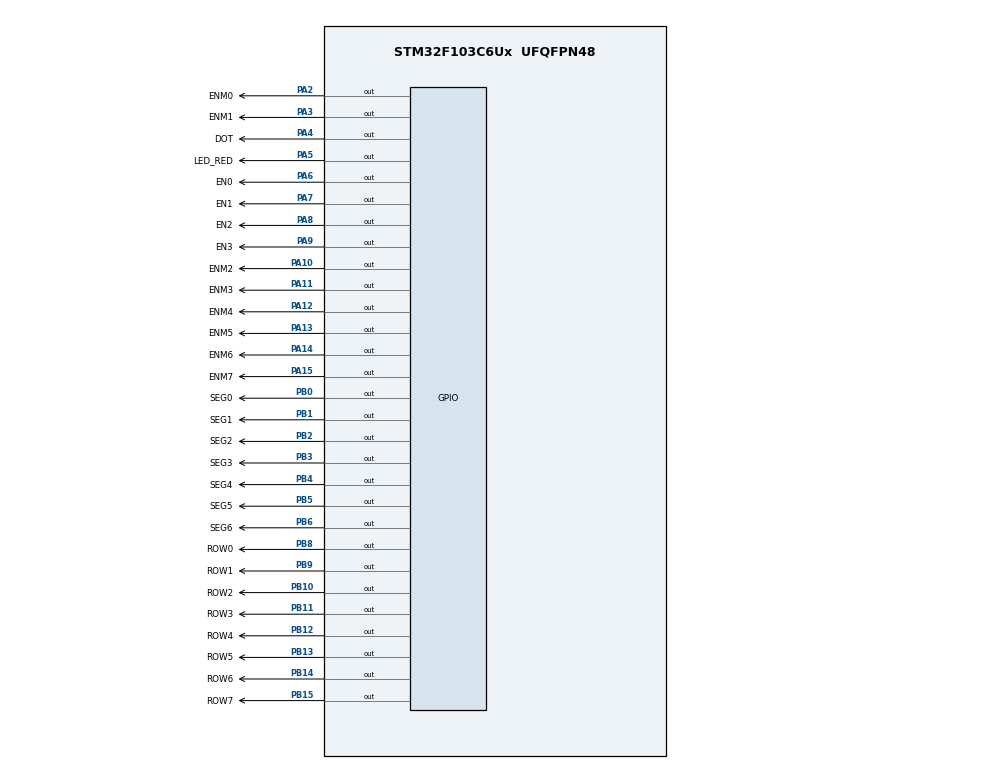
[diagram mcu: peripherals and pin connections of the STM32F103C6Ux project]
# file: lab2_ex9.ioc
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Mcu.Family=STM32F1
Mcu.Name=STM32F103C6Ux
Mcu.Package=UFQFPN48
NVIC.PriorityGroup=NVIC_PRIORITYGROUP_4
NVIC.TIM2_IRQn=true\:0\:0\:false\:false\:true\:true\:true\:true
PA10.GPIO_Label=ENM2
PA10.Signal=GPIO_Output
PA11.GPIO_Label=ENM3
PA11.Signal=GPIO_Output
PA12.GPIO_Label=ENM4
PA12.Signal=GPIO_Output
PA13.GPIO_Label=ENM5
PA13.Signal=GPIO_Output
PA14.GPIO_Label=ENM6
PA14.Signal=GPIO_Output
PA15.GPIO_Label=ENM7
PA15.Signal=GPIO_Output
PA2.GPIO_Label=ENM0
PA2.Signal=GPIO_Output
PA3.GPIO_Label=ENM1
PA3.Signal=GPIO_Output
PA4.GPIO_Label=DOT
PA4.Signal=GPIO_Output
PA5.GPIO_Label=LED_RED
PA5.Signal=GPIO_Output
PA6.GPIO_Label=EN0
PA6.Signal=GPIO_Output
PA7.GPIO_Label=EN1
PA7.Signal=GPIO_Output
PA8.GPIO_Label=EN2
PA8.Signal=GPIO_Output
PA9.GPIO_Label=EN3
PA9.Signal=GPIO_Output
PB0.GPIO_Label=SEG0
PB0.Signal=GPIO_Output
PB1.GPIO_Label=SEG1
PB1.Signal=GPIO_Output
PB10.GPIO_Label=ROW2
PB10.Signal=GPIO_Output
PB11.GPIO_Label=ROW3
PB11.Signal=GPIO_Output
PB12.GPIO_Label=ROW4
PB12.Signal=GPIO_Output
PB13.GPIO_Label=ROW5
PB13.Signal=GPIO_Output
PB14.GPIO_Label=ROW6
PB14.Signal=GPIO_Output
PB15.GPIO_Label=ROW7
PB15.Signal=GPIO_Output
PB2.GPIO_Label=SEG2
PB2.Signal=GPIO_Output
PB3.GPIO_Label=SEG3
PB3.Signal=GPIO_Output
PB4.GPIO_Label=SEG4
PB4.Signal=GPIO_Output
PB5.GPIO_Label=SEG5
PB5.Signal=GPIO_Output
PB6.GPIO_Label=SEG6
PB6.Signal=GPIO_Output
PB8.GPIO_Label=ROW0
PB8.Signal=GPIO_Output
PB9.GPIO_Label=ROW1
PB9.Signal=GPIO_Output
ProjectManager.HeapSize=0x200
ProjectManager.StackSize=0x400
ProjectManager.TargetToolchain=STM32CubeIDE
RCC.APB1Freq_Value=8000000
RCC.APB2Freq_Value=8000000
TIM2.Period=9
TIM2.Prescaler=7999
VP_SYS_VS_ND.Mode=No_Debug
VP_TIM2_VS_ClockSourceINT.Mode=Internal
board=custom

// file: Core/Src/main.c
/* USER CODE BEGIN Header */
/**
  ******************************************************************************
  * @file           : main.c
  * @brief          : Main program body
  ******************************************************************************
  * @attention
  *
  * Copyright (c) 2025 STMicroelectronics.
  * All rights reserved.
  *
  * This software is licensed under terms that can be found in the LICENSE file
  * in the root directory of this software component.
  * If no LICENSE file comes with this software, it is provided AS-IS.
  *
  ******************************************************************************
  */
/* USER CODE END Header */
#include "main.h"

/* USER CODE BEGIN Includes */
#include "software_timer.h"
/* USER CODE END Includes */

TIM_HandleTypeDef htim2;

/* USER CODE BEGIN PV */
int led_counter = 100;
int seg_counter = 50;
int active_digit = 0;
const int MAX_LED = 4;
int index_led = 0;
int led_buffer [4] = {1 , 5 , 5 , 9};
int hour = 15, minute = 59, second = 45;
const int MAX_LED_MATRIX = 8;
int index_led_matrix = 0;
uint8_t matrix_buffer[8] = {
    0b11100111,
	0b11011011,
	0b10111101,
	0b10000001,
	0b10111101,
	0b10111101,
	0b10111101,
	0b10111101
};
uint8_t row_map[8] = {0b00000001, 0b00000010, 0b00000100, 0b00001000, 0b00010000, 0b00100000, 0b01000000, 0b10000000};
/* USER CODE END PV */

void SystemClock_Config(void);
static void MX_GPIO_Init(void);
static void MX_TIM2_Init(void);
/* USER CODE BEGIN PFP */
void display7SEG(int);
void update7SEG(int);
void updateClockBuffer();
void updateLEDMatrix(int);
/* USER CODE END PFP */

/* USER CODE BEGIN 0 */
int timer0_counter = 0;
int timer0_flag = 0;
int TIMER_CYCLE = 10;
void setTimer0(int duration){
	timer0_counter = duration /TIMER_CYCLE;
	timer0_flag = 0;
}
void timer_run(){
	if(timer0_counter > 0){
		timer0_counter--;
		if(timer0_counter == 0) timer0_flag = 1;
	}
}
/* USER CODE END 0 */

int main(void)
{

  /* MCU Configuration--------------------------------------------------------*/

  /* Reset of all peripherals, Initializes the Flash interface and the Systick. */
  HAL_Init();

  /* Configure the system clock */
  SystemClock_Config();

  /* Initialize all configured peripherals */
  MX_GPIO_Init();
  MX_TIM2_Init();
  /* USER CODE BEGIN 2 */
  HAL_TIM_Base_Start_IT(&htim2);
  HAL_GPIO_WritePin(GPIOA, LED_RED_Pin, GPIO_PIN_RESET);
  HAL_GPIO_WritePin(GPIOA, DOT_Pin, GPIO_PIN_RESET);
  /* USER CODE END 2 */

  /* Infinite loop */
  /* USER CODE BEGIN WHILE */
  setTimer0(1000);
  int timer_led = 100;
  int timer_dot = 50;
  int timer_clock = 25;
  int timer_seg = 10;
  int timer_matrix = 10;
  while (1) {

	  if (timer_led <= 0){
		  HAL_GPIO_TogglePin(GPIOA, LED_RED_Pin);
		  timer_led = 100;
	  }

	  if (timer_dot <= 0){
		  HAL_GPIO_TogglePin(GPIOA, DOT_Pin);
		  timer_dot = 50;
	  }

	  if (timer_clock <= 0){
		  second++;
		  if (second >= 60){
			  second = 0;
			  minute++;
			  if (minute >= 60){
				  minute = 0;
				  hour++;
				  if (hour >= 24) hour = 0;
			  }
		  }
		  updateClockBuffer();
		  timer_clock = 25;
	  }

	  if (timer_seg <= 0){
		  update7SEG((index_led++) % MAX_LED);
		  timer_seg = 25;
	  }

	  if (timer_matrix <= 0){
	      updateLEDMatrix((index_led_matrix++) % MAX_LED_MATRIX);
	      timer_matrix = 2;
	  }

	  if (timer0_flag == 1){
		  timer_led--;
		  timer_dot--;
		  timer_clock--;
		  timer_seg--;
		  timer_matrix--;
		  setTimer0(10);
	  }

    /* USER CODE END WHILE */

  }
}

void SystemClock_Config(void)
{
  RCC_OscInitTypeDef RCC_OscInitStruct = {0};
  RCC_ClkInitTypeDef RCC_ClkInitStruct = {0};

  /** Initializes the RCC Oscillators according to the specified parameters
  * in the RCC_OscInitTypeDef structure.
  */
  RCC_OscInitStruct.OscillatorType = RCC_OSCILLATORTYPE_HSI;
  RCC_OscInitStruct.HSIState = RCC_HSI_ON;
  RCC_OscInitStruct.HSICalibrationValue = RCC_HSICALIBRATION_DEFAULT;
  RCC_OscInitStruct.PLL.PLLState = RCC_PLL_NONE;
  if (HAL_RCC_OscConfig(&RCC_OscInitStruct) != HAL_OK)
  {
    Error_Handler();
  }

  /** Initializes the CPU, AHB and APB buses clocks
  */
  RCC_ClkInitStruct.ClockType = RCC_CLOCKTYPE_HCLK|RCC_CLOCKTYPE_SYSCLK
                              |RCC_CLOCKTYPE_PCLK1|RCC_CLOCKTYPE_PCLK2;
  RCC_ClkInitStruct.SYSCLKSource = RCC_SYSCLKSOURCE_HSI;
  RCC_ClkInitStruct.AHBCLKDivider = RCC_SYSCLK_DIV1;
  RCC_ClkInitStruct.APB1CLKDivider = RCC_HCLK_DIV1;
  RCC_ClkInitStruct.APB2CLKDivider = RCC_HCLK_DIV1;

  if (HAL_RCC_ClockConfig(&RCC_ClkInitStruct, FLASH_LATENCY_0) != HAL_OK)
  {
    Error_Handler();
  }
}

static void MX_TIM2_Init(void)
{

  TIM_ClockConfigTypeDef sClockSourceConfig = {0};
  TIM_MasterConfigTypeDef sMasterConfig = {0};

  htim2.Instance = TIM2;
  htim2.Init.Prescaler = 7999;
  htim2.Init.CounterMode = TIM_COUNTERMODE_UP;
  htim2.Init.Period = 9;
  htim2.Init.ClockDivision = TIM_CLOCKDIVISION_DIV1;
  htim2.Init.AutoReloadPreload = TIM_AUTORELOAD_PRELOAD_DISABLE;
  if (HAL_TIM_Base_Init(&htim2) != HAL_OK)
  {
    Error_Handler();
  }
  sClockSourceConfig.ClockSource = TIM_CLOCKSOURCE_INTERNAL;
  if (HAL_TIM_ConfigClockSource(&htim2, &sClockSourceConfig) != HAL_OK)
  {
    Error_Handler();
  }
  sMasterConfig.MasterOutputTrigger = TIM_TRGO_RESET;
  sMasterConfig.MasterSlaveMode = TIM_MASTERSLAVEMODE_DISABLE;
  if (HAL_TIMEx_MasterConfigSynchronization(&htim2, &sMasterConfig) != HAL_OK)
  {
    Error_Handler();
  }

}

static void MX_GPIO_Init(void)
{
  GPIO_InitTypeDef GPIO_InitStruct = {0};

  /* GPIO Ports Clock Enable */
  __HAL_RCC_GPIOA_CLK_ENABLE();
  __HAL_RCC_GPIOB_CLK_ENABLE();

  /*Configure GPIO pin Output Level */
  HAL_GPIO_WritePin(GPIOA, ENM0_Pin|ENM1_Pin|DOT_Pin|LED_RED_Pin
                          |EN0_Pin|EN1_Pin|EN2_Pin|EN3_Pin
                          |ENM2_Pin|ENM3_Pin|ENM4_Pin|ENM5_Pin
                          |ENM6_Pin|ENM7_Pin, GPIO_PIN_RESET);

  /*Configure GPIO pin Output Level */
  HAL_GPIO_WritePin(GPIOB, SEG0_Pin|SEG1_Pin|SEG2_Pin|ROW2_Pin
                          |ROW3_Pin|ROW4_Pin|ROW5_Pin|ROW6_Pin
                          |ROW7_Pin|SEG3_Pin|SEG4_Pin|SEG5_Pin
                          |SEG6_Pin|ROW0_Pin|ROW1_Pin, GPIO_PIN_RESET);

  /*Configure GPIO pins : ENM0_Pin ENM1_Pin DOT_Pin LED_RED_Pin
                           EN0_Pin EN1_Pin EN2_Pin EN3_Pin
                           ENM2_Pin ENM3_Pin ENM4_Pin ENM5_Pin
                           ENM6_Pin ENM7_Pin */
  GPIO_InitStruct.Pin = ENM0_Pin|ENM1_Pin|DOT_Pin|LED_RED_Pin
                          |EN0_Pin|EN1_Pin|EN2_Pin|EN3_Pin
                          |ENM2_Pin|ENM3_Pin|ENM4_Pin|ENM5_Pin
                          |ENM6_Pin|ENM7_Pin;
  GPIO_InitStruct.Mode = GPIO_MODE_OUTPUT_PP;
  GPIO_InitStruct.Pull = GPIO_NOPULL;
  GPIO_InitStruct.Speed = GPIO_SPEED_FREQ_LOW;
  HAL_GPIO_Init(GPIOA, &GPIO_InitStruct);

  /*Configure GPIO pins : SEG0_Pin SEG1_Pin SEG2_Pin ROW2_Pin
                           ROW3_Pin ROW4_Pin ROW5_Pin ROW6_Pin
                           ROW7_Pin SEG3_Pin SEG4_Pin SEG5_Pin
                           SEG6_Pin ROW0_Pin ROW1_Pin */
  GPIO_InitStruct.Pin = SEG0_Pin|SEG1_Pin|SEG2_Pin|ROW2_Pin
                          |ROW3_Pin|ROW4_Pin|ROW5_Pin|ROW6_Pin
                          |ROW7_Pin|SEG3_Pin|SEG4_Pin|SEG5_Pin
                          |SEG6_Pin|ROW0_Pin|ROW1_Pin;
  GPIO_InitStruct.Mode = GPIO_MODE_OUTPUT_PP;
  GPIO_InitStruct.Pull = GPIO_NOPULL;
  GPIO_InitStruct.Speed = GPIO_SPEED_FREQ_LOW;
  HAL_GPIO_Init(GPIOB, &GPIO_InitStruct);

}

/* USER CODE BEGIN 4 */
void HAL_TIM_PeriodElapsedCallback(TIM_HandleTypeDef *htim) {
	timer_run();
}
void display7SEG(int num) {
    switch(num) {
        case 0:
            HAL_GPIO_WritePin(GPIOB, SEG0_Pin, GPIO_PIN_RESET);
            HAL_GPIO_WritePin(GPIOB, SEG1_Pin, GPIO_PIN_RESET);
            HAL_GPIO_WritePin(GPIOB, SEG2_Pin, GPIO_PIN_RESET);
            HAL_GPIO_WritePin(GPIOB, SEG3_Pin, GPIO_PIN_RESET);
            HAL_GPIO_WritePin(GPIOB, SEG4_Pin, GPIO_PIN_RESET);
            HAL_GPIO_WritePin(GPIOB, SEG5_Pin, GPIO_PIN_RESET);
            HAL_GPIO_WritePin(GPIOB, SEG6_Pin, GPIO_PIN_SET);
            break;

        case 1:
            HAL_GPIO_WritePin(GPIOB, SEG0_Pin, GPIO_PIN_SET);
            HAL_GPIO_WritePin(GPIOB, SEG1_Pin, GPIO_PIN_RESET);
            HAL_GPIO_WritePin(GPIOB, SEG2_Pin, GPIO_PIN_RESET);
            HAL_GPIO_WritePin(GPIOB, SEG3_Pin, GPIO_PIN_SET);
            HAL_GPIO_WritePin(GPIOB, SEG4_Pin, GPIO_PIN_SET);
            HAL_GPIO_WritePin(GPIOB, SEG5_Pin, GPIO_PIN_SET);
            HAL_GPIO_WritePin(GPIOB, SEG6_Pin, GPIO_PIN_SET);
            break;

        case 2:
            HAL_GPIO_WritePin(GPIOB, SEG0_Pin, GPIO_PIN_RESET);
            HAL_GPIO_WritePin(GPIOB, SEG1_Pin, GPIO_PIN_RESET);
            HAL_GPIO_WritePin(GPIOB, SEG2_Pin, GPIO_PIN_SET);
            HAL_GPIO_WritePin(GPIOB, SEG3_Pin, GPIO_PIN_RESET);
            HAL_GPIO_WritePin(GPIOB, SEG4_Pin, GPIO_PIN_RESET);
            HAL_GPIO_WritePin(GPIOB, SEG5_Pin, GPIO_PIN_SET);
            HAL_GPIO_WritePin(GPIOB, SEG6_Pin, GPIO_PIN_RESET);
            break;

        case 3:
            HAL_GPIO_WritePin(GPIOB, SEG0_Pin, GPIO_PIN_RESET);
            HAL_GPIO_WritePin(GPIOB, SEG1_Pin, GPIO_PIN_RESET);
            HAL_GPIO_WritePin(GPIOB, SEG2_Pin, GPIO_PIN_RESET);
            HAL_GPIO_WritePin(GPIOB, SEG3_Pin, GPIO_PIN_RESET);
            HAL_GPIO_WritePin(GPIOB, SEG4_Pin, GPIO_PIN_SET);
            HAL_GPIO_WritePin(GPIOB, SEG5_Pin, GPIO_PIN_SET);
            HAL_GPIO_WritePin(GPIOB, SEG6_Pin, GPIO_PIN_RESET);
            break;

        case 4:
            HAL_GPIO_WritePin(GPIOB, SEG0_Pin, GPIO_PIN_SET);
            HAL_GPIO_WritePin(GPIOB, SEG1_Pin, GPIO_PIN_RESET);
            HAL_GPIO_WritePin(GPIOB, SEG2_Pin, GPIO_PIN_RESET);
            HAL_GPIO_WritePin(GPIOB, SEG3_Pin, GPIO_PIN_SET);
            HAL_GPIO_WritePin(GPIOB, SEG4_Pin, GPIO_PIN_SET);
            HAL_GPIO_WritePin(GPIOB, SEG5_Pin, GPIO_PIN_RESET);
            HAL_GPIO_WritePin(GPIOB, SEG6_Pin, GPIO_PIN_RESET);
            break;

        case 5:
            HAL_GPIO_WritePin(GPIOB, SEG0_Pin, GPIO_PIN_RESET);
            HAL_GPIO_WritePin(GPIOB, SEG1_Pin, GPIO_PIN_SET);
            HAL_GPIO_WritePin(GPIOB, SEG2_Pin, GPIO_PIN_RESET);
            HAL_GPIO_WritePin(GPIOB, SEG3_Pin, GPIO_PIN_RESET);
            HAL_GPIO_WritePin(GPIOB, SEG4_Pin, GPIO_PIN_SET);
            HAL_GPIO_WritePin(GPIOB, SEG5_Pin, GPIO_PIN_RESET);
            HAL_GPIO_WritePin(GPIOB, SEG6_Pin, GPIO_PIN_RESET);
            break;

        case 6:
            HAL_GPIO_WritePin(GPIOB, SEG0_Pin, GPIO_PIN_RESET);
            HAL_GPIO_WritePin(GPIOB, SEG1_Pin, GPIO_PIN_SET);
            HAL_GPIO_WritePin(GPIOB, SEG2_Pin, GPIO_PIN_RESET);
            HAL_GPIO_WritePin(GPIOB, SEG3_Pin, GPIO_PIN_RESET);
            HAL_GPIO_WritePin(GPIOB, SEG4_Pin, GPIO_PIN_RESET);
            HAL_GPIO_WritePin(GPIOB, SEG5_Pin, GPIO_PIN_RESET);
            HAL_GPIO_WritePin(GPIOB, SEG6_Pin, GPIO_PIN_RESET);
            break;

        case 7:
            HAL_GPIO_WritePin(GPIOB, SEG0_Pin, GPIO_PIN_RESET);
            HAL_GPIO_WritePin(GPIOB, SEG1_Pin, GPIO_PIN_RESET);
            HAL_GPIO_WritePin(GPIOB, SEG2_Pin, GPIO_PIN_RESET);
            HAL_GPIO_WritePin(GPIOB, SEG3_Pin, GPIO_PIN_SET);
            HAL_GPIO_WritePin(GPIOB, SEG4_Pin, GPIO_PIN_SET);
            HAL_GPIO_WritePin(GPIOB, SEG5_Pin, GPIO_PIN_SET);
            HAL_GPIO_WritePin(GPIOB, SEG6_Pin, GPIO_PIN_SET);
            break;

        case 8:
            HAL_GPIO_WritePin(GPIOB, SEG0_Pin, GPIO_PIN_RESET);
            HAL_GPIO_WritePin(GPIOB, SEG1_Pin, GPIO_PIN_RESET);
            HAL_GPIO_WritePin(GPIOB, SEG2_Pin, GPIO_PIN_RESET);
            HAL_GPIO_WritePin(GPIOB, SEG3_Pin, GPIO_PIN_RESET);
            HAL_GPIO_WritePin(GPIOB, SEG4_Pin, GPIO_PIN_RESET);
            HAL_GPIO_WritePin(GPIOB, SEG5_Pin, GPIO_PIN_RESET);
            HAL_GPIO_WritePin(GPIOB, SEG6_Pin, GPIO_PIN_RESET);
            break;

        case 9:
            HAL_GPIO_WritePin(GPIOB, SEG0_Pin, GPIO_PIN_RESET);
            HAL_GPIO_WritePin(GPIOB, SEG1_Pin, GPIO_PIN_RESET);
            HAL_GPIO_WritePin(GPIOB, SEG2_Pin, GPIO_PIN_RESET);
            HAL_GPIO_WritePin(GPIOB, SEG3_Pin, GPIO_PIN_RESET);
            HAL_GPIO_WritePin(GPIOB, SEG4_Pin, GPIO_PIN_SET);
            HAL_GPIO_WritePin(GPIOB, SEG5_Pin, GPIO_PIN_RESET);
            HAL_GPIO_WritePin(GPIOB, SEG6_Pin, GPIO_PIN_RESET);
            break;

        default:
            HAL_GPIO_WritePin(GPIOB, SEG0_Pin, GPIO_PIN_SET);
            HAL_GPIO_WritePin(GPIOB, SEG1_Pin, GPIO_PIN_SET);
            HAL_GPIO_WritePin(GPIOB, SEG2_Pin, GPIO_PIN_SET);
            HAL_GPIO_WritePin(GPIOB, SEG3_Pin, GPIO_PIN_SET);
            HAL_GPIO_WritePin(GPIOB, SEG4_Pin, GPIO_PIN_SET);
            HAL_GPIO_WritePin(GPIOB, SEG5_Pin, GPIO_PIN_SET);
            HAL_GPIO_WritePin(GPIOB, SEG6_Pin, GPIO_PIN_SET);
            break;
    }
}

void update7SEG(int index) {
	HAL_GPIO_WritePin(GPIOA, EN0_Pin|EN1_Pin|EN2_Pin|EN3_Pin, GPIO_PIN_SET);
    switch (index) {
        case 0:
            HAL_GPIO_WritePin(GPIOA, EN0_Pin, GPIO_PIN_RESET);
            display7SEG(led_buffer[0]);
            break;

        case 1:
            HAL_GPIO_WritePin(GPIOA, EN1_Pin, GPIO_PIN_RESET);
            display7SEG(led_buffer[1]);
            break;

        case 2:
            HAL_GPIO_WritePin(GPIOA, EN2_Pin, GPIO_PIN_RESET);
            display7SEG(led_buffer[2]);
            break;

        case 3:
            HAL_GPIO_WritePin(GPIOA, EN3_Pin, GPIO_PIN_RESET);
            display7SEG(led_buffer[3]);
            break;

        default:
            break;
    }
}

void updateClockBuffer(){
	led_buffer[0] = hour / 10;
	led_buffer[1] = hour % 10;
	led_buffer[2] = minute / 10;
	led_buffer[3] = minute % 10;
}

//void updateLEDMatrix(int index){
//    switch (index){
//        case 0:
//            HAL_GPIO_WritePin(GPIOA, ENM0_Pin, GPIO_PIN_RESET);
//            HAL_GPIO_WritePin(GPIOA, ENM1_Pin | ENM2_Pin | ENM3_Pin | ENM4_Pin | ENM5_Pin | ENM6_Pin | ENM7_Pin, GPIO_PIN_SET);
//            HAL_GPIO_WritePin(GPIOB, ROW0_Pin | ROW1_Pin | ROW2_Pin | ROW3_Pin | ROW4_Pin | ROW5_Pin | ROW6_Pin | ROW7_Pin, GPIO_PIN_RESET);
//            HAL_GPIO_WritePin(GPIOB, matrix_buffer[0] << 8, GPIO_PIN_SET);
//            break;
//        case 1:
//            HAL_GPIO_WritePin(GPIOA, ENM1_Pin, GPIO_PIN_RESET);
//            HAL_GPIO_WritePin(GPIOA, ENM0_Pin | ENM2_Pin | ENM3_Pin | ENM4_Pin | ENM5_Pin | ENM6_Pin | ENM7_Pin, GPIO_PIN_SET);
//            HAL_GPIO_WritePin(GPIOB, ROW0_Pin | ROW1_Pin | ROW2_Pin | ROW3_Pin | ROW4_Pin | ROW5_Pin | ROW6_Pin | ROW7_Pin, GPIO_PIN_RESET);
//            HAL_GPIO_WritePin(GPIOB, matrix_buffer[1] << 8, GPIO_PIN_SET);
//            break;
//        case 2:
//            HAL_GPIO_WritePin(GPIOA, ENM2_Pin, GPIO_PIN_RESET);
//            HAL_GPIO_WritePin(GPIOA, ENM0_Pin | ENM1_Pin | ENM3_Pin | ENM4_Pin | ENM5_Pin | ENM6_Pin | ENM7_Pin, GPIO_PIN_SET);
//            HAL_GPIO_WritePin(GPIOB, ROW0_Pin | ROW1_Pin | ROW2_Pin | ROW3_Pin | ROW4_Pin | ROW5_Pin | ROW6_Pin | ROW7_Pin, GPIO_PIN_RESET);
//            HAL_GPIO_WritePin(GPIOB, matrix_buffer[2] << 8, GPIO_PIN_SET);
//            break;
//        case 3:
//            HAL_GPIO_WritePin(GPIOA, ENM3_Pin, GPIO_PIN_RESET);
//            HAL_GPIO_WritePin(GPIOA, ENM0_Pin | ENM1_Pin | ENM2_Pin | ENM4_Pin | ENM5_Pin | ENM6_Pin | ENM7_Pin, GPIO_PIN_SET);
//            HAL_GPIO_WritePin(GPIOB, ROW0_Pin | ROW1_Pin | ROW2_Pin | ROW3_Pin | ROW4_Pin | ROW5_Pin | ROW6_Pin | ROW7_Pin, GPIO_PIN_RESET);
//            HAL_GPIO_WritePin(GPIOB, matrix_buffer[3] << 8, GPIO_PIN_SET);
//            break;
//        case 4:
//            HAL_GPIO_WritePin(GPIOA, ENM4_Pin, GPIO_PIN_RESET);
//            HAL_GPIO_WritePin(GPIOA, ENM0_Pin | ENM1_Pin | ENM2_Pin | ENM3_Pin | ENM5_Pin | ENM6_Pin | ENM7_Pin, GPIO_PIN_SET);
//            HAL_GPIO_WritePin(GPIOB, ROW0_Pin | ROW1_Pin | ROW2_Pin | ROW3_Pin | ROW4_Pin | ROW5_Pin | ROW6_Pin | ROW7_Pin, GPIO_PIN_RESET);
//            HAL_GPIO_WritePin(GPIOB, matrix_buffer[4] << 8, GPIO_PIN_SET);
//            break;
//        case 5:
//            HAL_GPIO_WritePin(GPIOA, ENM5_Pin, GPIO_PIN_RESET);
//            HAL_GPIO_WritePin(GPIOA, ENM0_Pin | ENM1_Pin | ENM2_Pin | ENM3_Pin | ENM4_Pin | ENM6_Pin | ENM7_Pin, GPIO_PIN_SET);
//            HAL_GPIO_WritePin(GPIOB, ROW0_Pin | ROW1_Pin | ROW2_Pin | ROW3_Pin | ROW4_Pin | ROW5_Pin | ROW6_Pin | ROW7_Pin, GPIO_PIN_RESET);
//            HAL_GPIO_WritePin(GPIOB, matrix_buffer[5] << 8, GPIO_PIN_SET);
//            break;
//        case 6:
//            HAL_GPIO_WritePin(GPIOA, ENM6_Pin, GPIO_PIN_RESET);
//            HAL_GPIO_WritePin(GPIOA, ENM0_Pin | ENM1_Pin | ENM2_Pin | ENM3_Pin | ENM4_Pin | ENM5_Pin | ENM7_Pin, GPIO_PIN_SET);
//            HAL_GPIO_WritePin(GPIOB, ROW0_Pin | ROW1_Pin | ROW2_Pin | ROW3_Pin | ROW4_Pin | ROW5_Pin | ROW6_Pin | ROW7_Pin, GPIO_PIN_RESET);
//            HAL_GPIO_WritePin(GPIOB, matrix_buffer[6] << 8, GPIO_PIN_SET);
//            break;
//        case 7:
//            HAL_GPIO_WritePin(GPIOA, ENM7_Pin, GPIO_PIN_RESET);
//            HAL_GPIO_WritePin(GPIOA, ENM0_Pin | ENM1_Pin | ENM2_Pin | ENM3_Pin | ENM4_Pin | ENM5_Pin | ENM6_Pin, GPIO_PIN_SET);
//            HAL_GPIO_WritePin(GPIOB, ROW0_Pin | ROW1_Pin | ROW2_Pin | ROW3_Pin | ROW4_Pin | ROW5_Pin | ROW6_Pin | ROW7_Pin, GPIO_PIN_RESET);
//            HAL_GPIO_WritePin(GPIOB, matrix_buffer[7] << 8, GPIO_PIN_SET);
//            break;
//        default:
//            break;
//    }
//}
void set_row (int num) {
	HAL_GPIO_WritePin(ROW0_GPIO_Port, ROW0_Pin, !(row_map[num] & 1 << 0));
	HAL_GPIO_WritePin(ROW1_GPIO_Port, ROW1_Pin, !(row_map[num] & 1 << 1));
	HAL_GPIO_WritePin(ROW2_GPIO_Port, ROW2_Pin, !(row_map[num] & 1 << 2));
	HAL_GPIO_WritePin(ROW3_GPIO_Port, ROW3_Pin, !(row_map[num] & 1 << 3));
	HAL_GPIO_WritePin(ROW4_GPIO_Port, ROW4_Pin, !(row_map[num] & 1 << 4));
	HAL_GPIO_WritePin(ROW5_GPIO_Port, ROW5_Pin, !(row_map[num] & 1 << 5));
	HAL_GPIO_WritePin(ROW6_GPIO_Port, ROW6_Pin, !(row_map[num] & 1 << 6));
	HAL_GPIO_WritePin(ROW7_GPIO_Port, ROW7_Pin, !(row_map[num] & 1 << 7));
}

void set_col(int num) {
	HAL_GPIO_WritePin(ENM0_GPIO_Port, ENM0_Pin, (matrix_buffer[num] >> 7) & 1);
	HAL_GPIO_WritePin(ENM1_GPIO_Port, ENM1_Pin, (matrix_buffer[num] >> 6) & 1);
	HAL_GPIO_WritePin(ENM2_GPIO_Port, ENM2_Pin, (matrix_buffer[num] >> 5) & 1);
	HAL_GPIO_WritePin(ENM3_GPIO_Port, ENM3_Pin, (matrix_buffer[num] >> 4) & 1);
	HAL_GPIO_WritePin(ENM4_GPIO_Port, ENM4_Pin, (matrix_buffer[num] >> 3) & 1);
	HAL_GPIO_WritePin(ENM5_GPIO_Port, ENM5_Pin, (matrix_buffer[num] >> 2) & 1);
	HAL_GPIO_WritePin(ENM6_GPIO_Port, ENM6_Pin, (matrix_buffer[num] >> 1) & 1);
	HAL_GPIO_WritePin(ENM7_GPIO_Port, ENM7_Pin, (matrix_buffer[num] >> 0) & 1);
}

void updateLEDMatrix(int index){

	switch (index){
	case 0:
		set_row(index);
		set_col(index);
		break;
	case 1:
		set_row(index);
		set_col(index);
		break;
	case 2:
		set_row(index);
		set_col(index);
		break;
	case 3:
		set_row(index);
		set_col(index);
		break;
	case 4:
		set_row(index);
		set_col(index);
		break;
	case 5:
		set_row(index);
		set_col(index);
		break;
	case 6:
		set_row(index);
		set_col(index);
		break;
	case 7:
		set_row(index);
		set_col(index);
		break;
	default:
		set_row(index);
		set_col(index);
		break;
	}
}
/* USER CODE END 4 */

void Error_Handler(void)
{
  __disable_irq();
  while (1)
  {
  }
}
